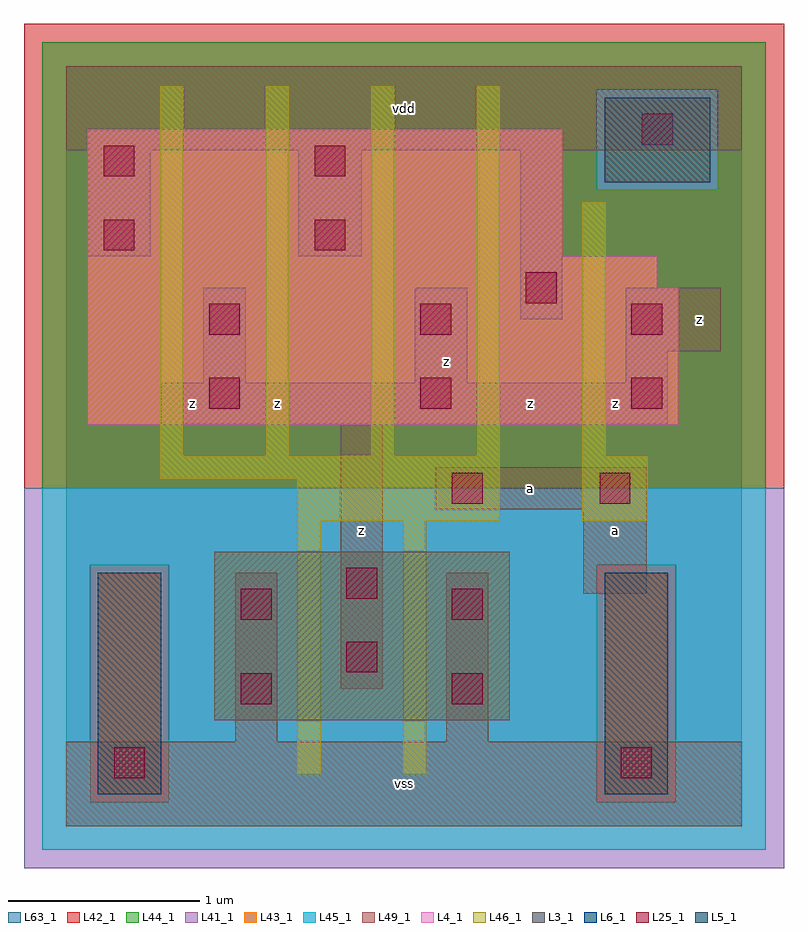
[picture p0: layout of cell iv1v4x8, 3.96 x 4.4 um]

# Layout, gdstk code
import gdstk
lib = gdstk.Library(unit=1e-6, precision=1e-09)
def R(c, l, rs):  # rectangles x0, y0, x1, y1
    for r in rs: c.add(gdstk.rectangle(r[:2], r[2:], *l))
def A(c, l, x, y, w, h, nx, ny, dx, dy):  # array of equal rectangles
    R(c, l, [(x+i*dx, y+j*dy, x+i*dx+w, y+j*dy+h) for i in range(nx) for j in range(ny)])
L3_1 = (3, 1)
L4_1 = (4, 1)
L5_1 = (5, 1)
L6_1 = (6, 1)
L25_1 = (25, 1)
L41_1 = (41, 1)
L42_1 = (42, 1)
L43_1 = (43, 1)
L44_1 = (44, 1)
L45_1 = (45, 1)
L46_1 = (46, 1)
L49_1 = (49, 1)
L63_1 = (63, 1)

iv1v4x8 = lib.new_cell('iv1v4x8')
R(iv1v4x8, L3_1, [(0.77,0.55,2.31,1.43)])
R(iv1v4x8, L4_1, [(0.11,2.09,3.19,2.805), (0.11,2.805,3.08,2.97), (0.11,2.97,2.585,3.63)])
R(iv1v4x8, L5_1, [(2.805,3.355,3.355,3.795)])
R(iv1v4x8, L6_1, [(0.165,0.165,0.495,1.32), (2.805,0.165,3.135,1.32)])
A(iv1v4x8, L25_1, 0.745, 2.175, 0.16, 0.16, 3, 2, 1.1, 0.385)
R(iv1v4x8, L25_1, [(0.25,0.25,0.41,0.41), (2.89,0.25,3.05,0.41), (0.91,0.635,1.07,0.795), (2.01,0.635,2.17,0.795), (1.46,0.8,1.62,0.96), (0.91,1.075,1.07,1.235), (2.01,1.075,2.17,1.235), (1.46,1.185,1.62,1.345), (2.01,1.68,2.17,1.84), (2.78,1.68,2.94,1.84), (2.395,2.725,2.555,2.885), (0.195,3,0.355,3.16), (1.295,3,1.455,3.16), (0.195,3.385,0.355,3.545), (1.295,3.385,1.455,3.545), (3,3.55,3.16,3.71)])
R(iv1v4x8, L41_1, [(-0.22,-0.22,3.74,1.76)])
R(iv1v4x8, L42_1, [(-0.22,1.76,3.74,4.18)])
R(iv1v4x8, L43_1, [(0.165,0.165,0.495,1.32), (2.805,0.165,3.135,1.32), (0.77,0.55,2.31,1.43), (0.11,2.09,3.19,2.805), (0.11,2.805,3.08,2.97), (0.11,2.97,2.585,3.63), (2.805,3.355,3.355,3.795)])
R(iv1v4x8, L44_1, [(0.125,0.125,0.535,1.36), (2.765,0.125,3.175,1.36), (-0.125,1.76,3.645,3.315), (-0.125,3.315,2.765,3.835), (3.395,3.315,3.645,3.835), (-0.125,3.835,3.645,4.085)])
R(iv1v4x8, L45_1, [(-0.125,-0.125,3.645,0.125), (-0.125,0.125,0.125,1.36), (0.535,0.125,2.765,1.36), (3.175,0.125,3.645,1.36), (-0.125,1.36,3.645,1.76), (2.765,3.315,3.395,3.835)])
A(iv1v4x8, L46_1, 0.49, 1.93, 0.12, 1.925, 4, 1, 0.55, 0)
R(iv1v4x8, L46_1, [(1.205,0.27,1.325,1.59), (1.755,0.27,1.875,1.59), (1.205,1.59,2.26,1.81), (2.69,1.59,3.03,1.93), (0.49,1.81,2.26,1.93), (2.69,1.93,2.81,3.25)])
R(iv1v4x8, L49_1, [(0,0,3.52,0.44), (0.88,0.44,1.1,1.32), (1.98,0.44,2.2,1.32), (1.43,0.715,1.65,2.09), (2.695,1.21,3.025,1.65), (1.925,1.65,3.025,1.87), (0.495,2.09,3.135,2.31), (0.715,2.31,0.935,2.805), (1.815,2.31,2.09,2.805), (2.915,2.31,3.135,2.475), (2.915,2.475,3.41,2.805), (2.365,2.64,2.585,3.52), (0.11,2.97,0.44,3.52), (1.21,2.97,1.54,3.52), (0,3.52,3.52,3.96)])
R(iv1v4x8, L63_1, [(0,0,3.52,3.96)])
iv1v4x8.add(gdstk.Label('z', (0.66,2.2), layer=49, texttype=1))
iv1v4x8.add(gdstk.Label('z', (1.54,1.54), layer=49, texttype=1))
iv1v4x8.add(gdstk.Label('z', (1.1,2.2), layer=49, texttype=1))
iv1v4x8.add(gdstk.Label('vss', (1.76,0.22), layer=49, texttype=1))
iv1v4x8.add(gdstk.Label('a', (2.42,1.76), layer=49, texttype=1))
iv1v4x8.add(gdstk.Label('z', (2.42,2.2), layer=49, texttype=1))
iv1v4x8.add(gdstk.Label('z', (1.98,2.42), layer=49, texttype=1))
iv1v4x8.add(gdstk.Label('vdd', (1.76,3.74), layer=49, texttype=1))
iv1v4x8.add(gdstk.Label('a', (2.86,1.54), layer=49, texttype=1))
iv1v4x8.add(gdstk.Label('z', (2.86,2.2), layer=49, texttype=1))
iv1v4x8.add(gdstk.Label('z', (3.3,2.64), layer=49, texttype=1))

lib.write_gds('iv1v4x8.gds')
